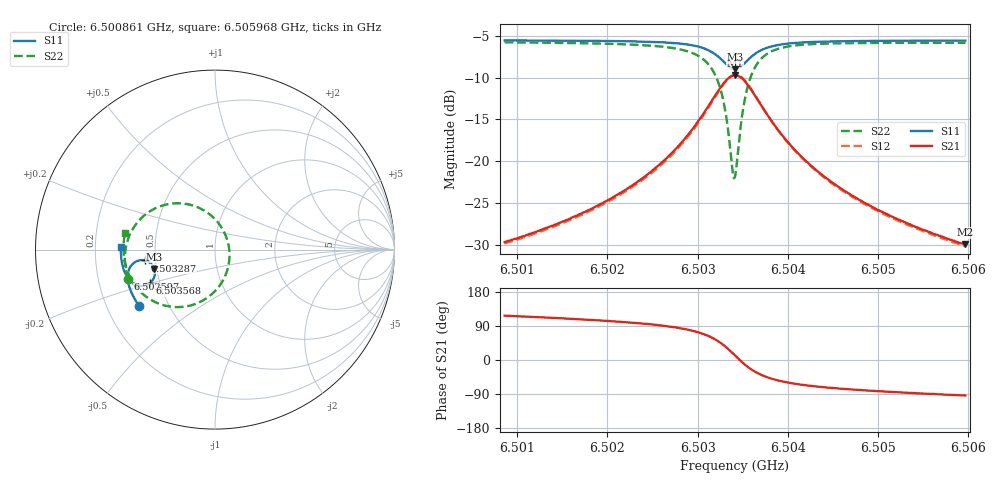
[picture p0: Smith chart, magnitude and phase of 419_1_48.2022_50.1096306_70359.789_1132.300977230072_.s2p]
#  HZ  S  RI  R  50.00
! Rohde & Schwarz Vector Network Analyzer
! Rohde-Schwarz,ZNB20-2Port,1311601062101988,3.16
! Created: UTC 3/20/2024, 11:54:50 AM
! freq[Hz]  re:S11  im:S11  re:S21  im:S21  re:S12  im:S12  re:S22  im:S22
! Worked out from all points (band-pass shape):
!   401 points, 6.500861 GHz to 6.505968 GHz, reference 50 ohm
!   highest |S21| = -9.73 dB at 6.503414 GHz (marker M1); lowest = -29.9 dB at 6.505968 GHz (marker M2)
!   |S21| within 3 dB of the highest: 6.50316 GHz to 6.50367 GHz (510.2 kHz wide, 0.00784 % of centre)
!   lowest |S11| = -9.0 dB at 6.503414 GHz (marker M3), VSWR 2.10, Z = 24.3 - j6.01 ohm
!   |S11| at or under -10 dB: nowhere
!   |S22| runs from -22.0 to -5.8 dB; largest |S21 - S12| = 0.011
!   S11 on the Smith chart (normalised r, x): 6.500861 GHz: 0.34, -0.30; 6.502597 GHz: 0.33, -0.15; 6.503287 GHz: 0.44, -0.06; 6.503568 GHz: 0.44, -0.20; 6.505968 GHz: 0.31, +0.01
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6.5008606e9  -0.422 -0.3147  -0.015 0.0293  -0.0135 0.0296  -0.4869 -0.1628
6.5017161e9  -0.4595 -0.2522  -0.0144 0.0469  -0.0121 0.0465  -0.5014 -0.0734
6.5022013e9  -0.4768 -0.2097  -0.0115 0.0667  -0.00852 0.0657  -0.4993 -0.00547
6.5025716e9  -0.4859 -0.1691  -0.00293 0.095  0.000621 0.0929  -0.481 0.0676
6.5025971e9  -0.4861 -0.1659  -0.00182 0.0979  0.00184 0.0955  -0.4786 0.0738
6.5028908e9  -0.483 -0.1213  0.0247 0.1413  0.0285 0.1369  -0.4231 0.1624
6.5030823e9  -0.4622 -0.0832  0.0781 0.1831  0.0805 0.177  -0.3215 0.235
6.5031972e9  -0.4302 -0.0623  0.1461 0.201  0.1469 0.1948  -0.1987 0.2581
6.5032866e9  -0.3903 -0.0602  0.225 0.1854  0.2252 0.1805  -0.0631 0.2193
6.5033249e9  -0.3711 -0.0676  0.2611 0.163  0.2618 0.1585  -0.00333 0.1733
6.5033888e9  -0.3444 -0.0939  0.3088 0.0997  0.3113 0.095  0.0689 0.0519
6.5034143e9  -0.338 -0.1083  0.3192 0.0678  0.3223 0.0623  0.0802 -0.00752
6.5034398e9  -0.3349 -0.1239  0.3231 0.0345  0.3263 0.0277  0.0786 -0.0684
6.5035037e9  -0.3418 -0.1609  0.3053 -0.043  0.3075 -0.0528  0.0243 -0.203
6.5035675e9  -0.3627 -0.1867  0.2629 -0.0971  0.262 -0.1081  -0.0713 -0.2857
6.5036697e9  -0.4021 -0.2019  0.1889 -0.1332  0.1837 -0.1426  -0.2201 -0.3202
6.5038357e9  -0.4481 -0.1922  0.1077 -0.1305  0.101 -0.1355  -0.3663 -0.2743
6.5040144e9  -0.4753 -0.171  0.0636 -0.1107  0.0576 -0.1131  -0.4381 -0.2101
6.5042698e9  -0.496 -0.1408  0.0338 -0.0867  0.0291 -0.0872  -0.4813 -0.1383
6.5046401e9  -0.5112 -0.1027  0.0152 -0.0644  0.0119 -0.064  -0.5033 -0.0657
6.5051253e9  -0.5211 -0.0579  0.00505 -0.0473  0.00277 -0.0467  -0.5098 0.00201
6.505968e9  -0.5259 0.0132  -0.00207 -0.0319  -0.00335 -0.031  -0.5019 0.0903
